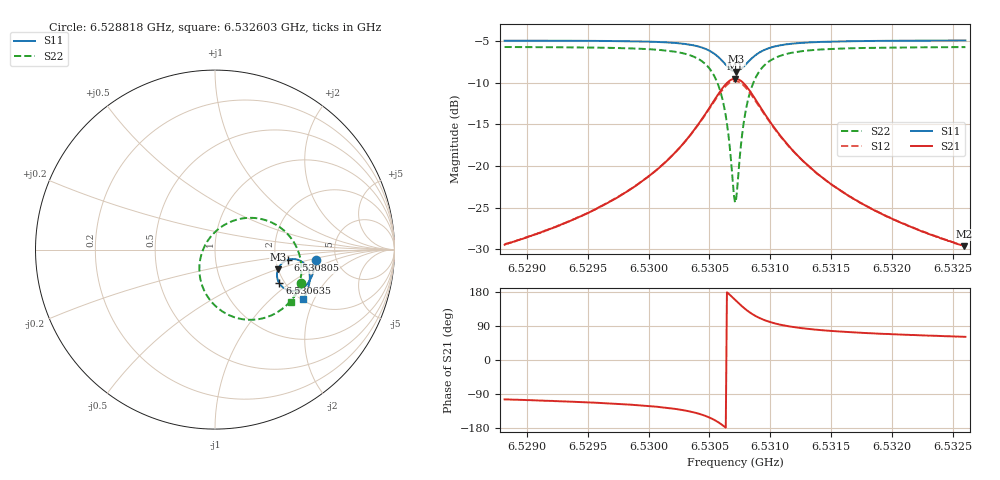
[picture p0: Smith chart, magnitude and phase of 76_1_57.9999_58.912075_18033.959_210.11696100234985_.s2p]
#  HZ  S  RI  R  50.00
! Rohde & Schwarz Vector Network Analyzer
! Rohde-Schwarz,ZNB20-2Port,1311601062101988,3.16
! Created: UTC 3/21/2024, 12:53:41 AM
! freq[Hz]  re:S11  im:S11  re:S21  im:S21  re:S12  im:S12  re:S22  im:S22
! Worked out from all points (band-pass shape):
!   401 points, 6.528818 GHz to 6.532603 GHz, reference 50 ohm
!   highest |S21| = -9.54 dB at 6.53071 GHz (marker M1); lowest = -29.6 dB at 6.532593 GHz (marker M2)
!   |S21| within 3 dB of the highest: 6.530522 GHz to 6.530901 GHz (379.3 kHz wide, 0.00581 % of centre)
!   lowest |S11| = -8.7 dB at 6.53072 GHz (marker M3), VSWR 2.16, Z = 99.8 - j25.2 ohm
!   |S11| at or under -10 dB: nowhere
!   |S22| runs from -24.4 to -5.7 dB; largest |S21 - S12| = 0.014
!   S11 on the Smith chart (normalised r, x): 6.528818 GHz: 3.48, -0.58; 6.530635 GHz: 1.87, -0.84; 6.530805 GHz: 2.34, -0.32; 6.532603 GHz: 2.03, -1.66
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6.5288181e9  0.5607 -0.0569  -0.00813 -0.0327  -0.00883 -0.0327  0.4812 -0.1869
6.529452e9  0.5511 -0.1114  -0.0181 -0.0467  -0.0193 -0.0465  0.4487 -0.2489
6.5298116e9  0.5401 -0.1466  -0.0315 -0.0618  -0.0331 -0.0611  0.4137 -0.2942
6.5300859e9  0.5237 -0.1786  -0.0541 -0.0807  -0.0567 -0.0792  0.3623 -0.3395
6.530313e9  0.4941 -0.2106  -0.1001 -0.1033  -0.1032 -0.0997  0.2698 -0.3819
6.5304739e9  0.4456 -0.2298  -0.1773 -0.1094  -0.1799 -0.1018  0.1283 -0.3827
6.5305685e9  0.3955 -0.2212  -0.2553 -0.0766  -0.2536 -0.0652  -0.000465 -0.3114
6.5306347e9  0.3584 -0.1876  -0.309 -0.00708  -0.3014 0.00405  -0.0767 -0.1839
6.5306631e9  0.3482 -0.1641  -0.321 0.0373  -0.3106 0.0463  -0.0872 -0.1085
6.5306915e9  0.3454 -0.1367  -0.3202 0.0863  -0.308 0.0925  -0.0761 -0.0282
6.5307104e9  0.3483 -0.1183  -0.3116 0.1188  -0.2988 0.1228  -0.0557 0.0235
6.5307198e9  0.351 -0.1092  -0.3049 0.1346  -0.2921 0.1374  -0.0417 0.0476
6.5307672e9  0.3777 -0.0724  -0.2524 0.1968  -0.2418 0.1949  0.0559 0.1397
6.530805e9  0.4066 -0.0568  -0.1999 0.2229  -0.192 0.219  0.1472 0.1727
6.5308712e9  0.4535 -0.0545  -0.1182 0.2263  -0.1142 0.2225  0.2847 0.1631
6.5309658e9  0.4953 -0.0764  -0.0471 0.1938  -0.0454 0.1917  0.3997 0.092
6.5311078e9  0.5204 -0.1131  -0.00382 0.1438  -0.00265 0.143  0.4638 -0.00942
6.5313443e9  0.5283 -0.1575  0.015 0.0942  0.0161 0.094  0.4814 -0.1129
6.5316281e9  0.5242 -0.1938  0.0186 0.0647  0.0195 0.0644  0.473 -0.1814
6.5319782e9  0.5143 -0.228  0.0181 0.0456  0.0188 0.0454  0.4558 -0.2336
6.5325932e9  0.4928 -0.2768  0.0157 0.0291  0.0166 0.0287  0.4241 -0.2933
6.5326026e9  0.4923 -0.2776  0.016 0.029  0.0164 0.0287  0.4235 -0.2941
